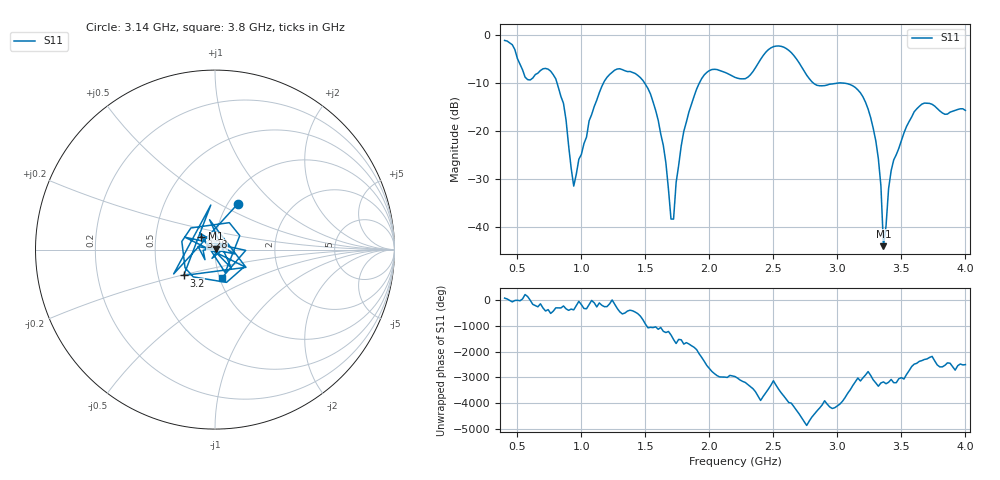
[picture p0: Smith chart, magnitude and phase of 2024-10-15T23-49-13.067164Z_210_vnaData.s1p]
! Created with skrf (http://scikit-rf.org).
# Hz S RI R 50.0
!freq ReS11 ImS11
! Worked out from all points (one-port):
!   181 points, 400 MHz to 4 GHz, reference 50 ohm
!   lowest |S11| = -43.9 dB at 3.36 GHz (marker M1), VSWR 1.01, Z = 50.3 + j0.553 ohm
!   |S11| at or under -10 dB: 809.3 MHz to 1.173 GHz (363.6 MHz wide, 36.7 % of centre); 1.493 GHz to 1.922 GHz (429.1 MHz wide, 25.1 % of centre); 3.024 GHz to end of sweep (the widest 3 of 4)
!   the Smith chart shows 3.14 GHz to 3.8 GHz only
!   S11 on the Smith chart (normalised r, x): 3.14 GHz: 1.11, +0.61; 3.2 GHz: 0.68, -0.21; 3.28 GHz: 0.85, +0.12; 3.8 GHz: 1.03, -0.33
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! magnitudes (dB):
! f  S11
! 400 MHz  -1.2
! 580 MHz  -9.3
! 760 MHz  -7.6
! 860 MHz  -14.3
! 940 MHz  -31.4
! 1.14 GHz  -12.0
! 1.3 GHz  -7.1
! 1.54 GHz  -12.3
! 1.64 GHz  -23.0
! 1.7 GHz  -38.3
! 1.72 GHz  -38.3
! 1.76 GHz  -27.1
! 1.84 GHz  -16.0
! 1.94 GHz  -9.1
! 2.2 GHz  -8.9
! 2.5 GHz  -2.5
! 2.66 GHz  -4.3
! 2.84 GHz  -10.5
! 3.1 GHz  -10.4
! 3.14 GHz  -11.0
! 3.2 GHz  -12.9
! 3.28 GHz  -19.4
! 3.34 GHz  -31.4
! 3.36 GHz  -43.9
! 3.42 GHz  -28.2
! 3.56 GHz  -18.0
! 3.8 GHz  -15.8
! 4 GHz  -15.7
